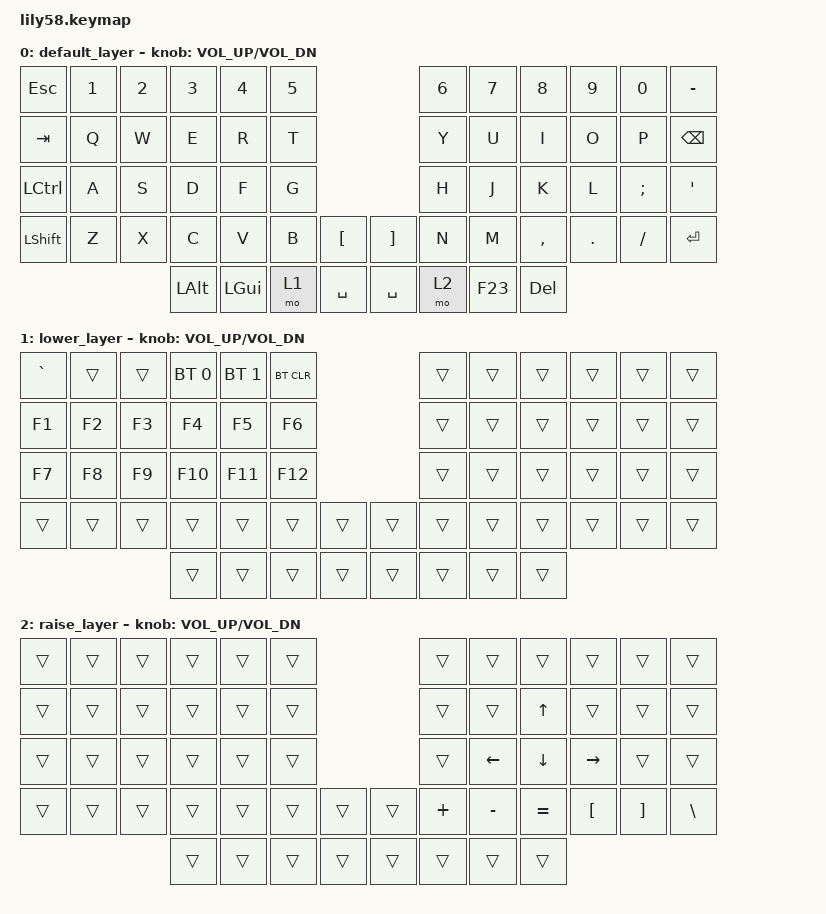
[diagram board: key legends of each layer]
/*
 * Copyright (c) 2020 The ZMK Contributors
 *
 * SPDX-License-Identifier: MIT
 */

#include <behaviors.dtsi>
#include <dt-bindings/zmk/keys.h>
#include <dt-bindings/zmk/bt.h>
#include <dt-bindings/zmk/ext_power.h>

/ {
	keymap {
		compatible = "zmk,keymap";

		default_layer {
// ------------------------------------------------------------------------------------------------------------
// |  ESC  |  1  |  2  |  3   |  4   |  5   |                   |  6   |  7    |  8    |  9   |   0   |   -   |
// |  TAB  |  Q  |  W  |  E   |  R   |  T   |                   |  Y   |  U    |  I    |  O   |   P   |  BSPC |
// |  CTRL |  A  |  S  |  D   |  F   |  G   |                   |  H   |  J    |  K    |  L   |   ;   |   '   |
// | SHIFT |  Z  |  X  |  C   |  V   |  B   |   "["  |  |  "]"  |  N   |  M    |  ,    |  .   |   /   | ENTER |
//                     | ALT  | GUI  | LOWER|  SPACE |  | SPACE | RAISE| F23   | DEL   |
			bindings = <
&kp ESC   &kp N1 &kp N2 &kp N3   &kp N4   &kp N5                      &kp N6 &kp N7   &kp N8    &kp N9  &kp N0   &kp MINUS
&kp TAB   &kp Q  &kp W  &kp E    &kp R    &kp T                       &kp Y  &kp U    &kp I     &kp O   &kp P    &kp BSPC
&kp LCTRL &kp A  &kp S  &kp D    &kp F    &kp G                       &kp H  &kp J    &kp K     &kp L   &kp SEMI &kp SQT
&kp LSHFT &kp Z  &kp X  &kp C    &kp V    &kp B  &kp LBKT   &kp RBKT  &kp N  &kp M    &kp COMMA &kp DOT &kp FSLH &kp RET
                        &kp LALT &kp LGUI &mo 1  &kp SPACE  &kp SPACE &mo 2  &kp F23  &kp DEL
			>;

			sensor-bindings = <&inc_dec_kp C_VOL_UP C_VOL_DN>;
		};

		lower_layer {
// ------------------------------------------------------------------------------------------------------------
// |   `   |     |     |  BT0 |  BT1 | BTCLR|                   |      |       |       |      |       |       |
// |  F1   |  F2 |  F3 |  F4  |  F5  |  F6  |                   |      |       |       |      |       |       |
// |  F7   |  F8 |  F9 |  F10 |  F11 |  F12 |                   |      |       |       |      |       |       |
// |       |     |     |      |      |      |        |  |       |      |       |       |      |       |       |
//                     |      |      |      |        |  |       |      |       |       |
			bindings = <
&kp GRAVE     &trans           &trans            &bt BT_SEL 0      &bt BT_SEL 1 &bt BT_CLR                   &trans    &trans    &trans          &trans  &trans  &trans
&kp F1     &kp F2           &kp F3            &kp F4            &kp F5       &kp F6                       &trans    &trans    &trans          &trans  &trans  &trans
&kp F7     &kp F8           &kp F9            &kp F10           &kp F11      &kp F12                      &trans    &trans    &trans          &trans  &trans  &trans
&trans     &trans           &trans            &trans            &trans       &trans    &trans   &trans    &trans    &trans    &trans          &trans  &trans  &trans
                                              &trans            &trans       &trans    &trans   &trans    &trans    &trans    &trans
			>;

			sensor-bindings = <&inc_dec_kp C_VOL_UP C_VOL_DN>;
		};

		raise_layer {
// ------------------------------------------------------------------------------------------------------------
// |       |     |     |      |      |      |                   |      |       |       |      |       |       |
// |       |     |     |      |      |      |                   |      |       |   ^   |      |       |       |
// |       |     |     |      |      |      |                   |      |   <-  |   v   |  ->  |       |       |
// |       |     |     |      |      |      |        |  |       |  +   |   -   |   =   |  [   |   ]   |   \   |
//                     |      |      |      |        |  |       |      |       |       |
			bindings = <
&trans    &trans &trans &trans  &trans  &trans                       &trans      &trans    &trans    &trans    &trans    &trans
&trans    &trans &trans &trans  &trans  &trans                       &trans      &trans    &kp UP    &trans    &trans    &trans
&trans    &trans &trans &trans  &trans  &trans                       &trans      &kp LEFT  &kp DOWN  &kp RIGHT &trans    &trans
&trans    &trans &trans &trans  &trans  &trans    &trans   &trans    &kp PLUS    &kp MINUS &kp EQUAL &kp LBKT  &kp RBKT  &kp BSLH
                        &trans  &trans  &trans    &trans   &trans    &trans      &trans    &trans
			>;

			sensor-bindings = <&inc_dec_kp C_VOL_UP C_VOL_DN>;
		};
	};
};
